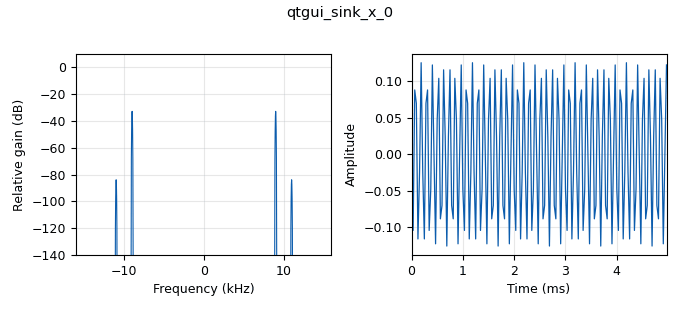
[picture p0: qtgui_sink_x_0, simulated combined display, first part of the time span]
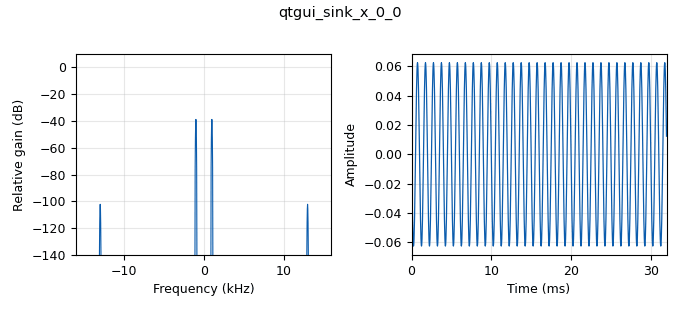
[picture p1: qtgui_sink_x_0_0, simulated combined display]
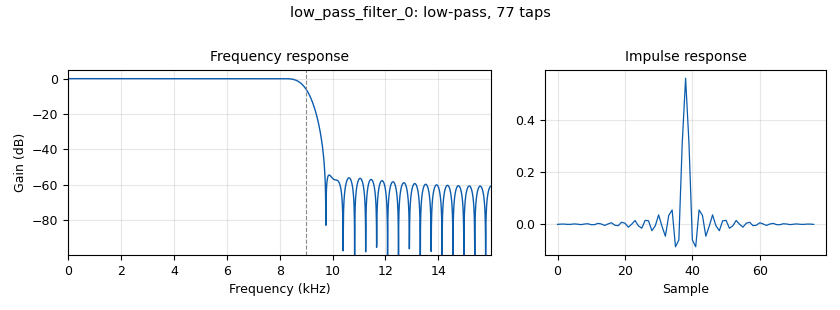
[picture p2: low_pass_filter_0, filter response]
options:
  parameters:
    author: e-life center
    generate_options: qt_gui
    id: project
    output_language: python
    title: Not titled yet
  states: {}

blocks:
- name: samp_rate
  id: variable
  parameters:
    value: '32000'
  states: {}
- name: analog_sig_source_x_0
  id: analog_sig_source_x
  parameters:
    amp: '0.5'
    freq: '1000'
    offset: '0'
    phase: '0'
    samp_rate: samp_rate
    type: float
    waveform: analog.GR_SIN_WAVE
  states: {}
- name: analog_sig_source_x_0_0
  id: analog_sig_source_x
  parameters:
    amp: '1'
    freq: '10000'
    offset: '0'
    phase: '0'
    samp_rate: samp_rate
    type: float
    waveform: analog.GR_SIN_WAVE
  states: {}
- name: analog_sig_source_x_0_0_0
  id: analog_sig_source_x
  parameters:
    amp: '1'
    freq: '10000'
    offset: '0'
    phase: '0'
    samp_rate: samp_rate
    type: float
    waveform: analog.GR_SIN_WAVE
  states: {}
- name: analog_sig_source_x_0_0_0_0
  id: analog_sig_source_x
  parameters:
    amp: '1'
    freq: '10000'
    offset: '0'
    phase: '0'
    samp_rate: samp_rate
    type: float
    waveform: analog.GR_SIN_WAVE
  states: {}
- name: analog_sig_source_x_0_1
  id: analog_sig_source_x
  parameters:
    amp: '0.5'
    freq: '1000'
    offset: '0'
    phase: '0'
    samp_rate: samp_rate
    type: float
    waveform: analog.GR_SIN_WAVE
  states: {}
- name: blocks_multiply_xx_0
  id: blocks_multiply_xx
  parameters:
    type: float
  states: {}
- name: blocks_multiply_xx_0_0
  id: blocks_multiply_xx
  parameters:
    type: float
  states: {}
- name: blocks_multiply_xx_0_0_0
  id: blocks_multiply_xx
  parameters:
    type: float
  states: {}
- name: low_pass_filter_0
  id: low_pass_filter
  parameters:
    cutoff_freq: '9000'
    decim: '1'
    gain: '1'
    samp_rate: samp_rate
    type: fir_filter_fff
    width: '1000'
    win: window.WIN_HAMMING
  states: {}
- name: low_pass_filter_1
  id: low_pass_filter
  parameters:
    cutoff_freq: '9000'
    decim: '1'
    gain: '1'
    samp_rate: samp_rate
    type: fir_filter_fff
    width: '1000'
    win: window.WIN_HAMMING
  states: {}
- name: low_pass_filter_1_0
  id: low_pass_filter
  parameters:
    cutoff_freq: '9000'
    decim: '1'
    gain: '1'
    samp_rate: samp_rate
    type: fir_filter_fff
    width: '1000'
    win: window.WIN_HAMMING
  states: {}
- name: qtgui_sink_x_0
  id: qtgui_sink_x
  parameters:
    bw: samp_rate
    fc: '0'
    fftsize: '1024'
    type: float
  states: {}
- name: qtgui_sink_x_0_0
  id: qtgui_sink_x
  parameters:
    bw: samp_rate
    fc: '0'
    fftsize: '1024'
    type: float
  states: {}

connections:
- [analog_sig_source_x_0, '0', blocks_multiply_xx_0, '0']
- [analog_sig_source_x_0_0, '0', blocks_multiply_xx_0, '1']
- [analog_sig_source_x_0_0_0, '0', blocks_multiply_xx_0_0, '1']
- [analog_sig_source_x_0_0_0_0, '0', blocks_multiply_xx_0_0_0, '1']
- [analog_sig_source_x_0_1, '0', blocks_multiply_xx_0_0, '0']
- [blocks_multiply_xx_0, '0', low_pass_filter_1, '0']
- [blocks_multiply_xx_0_0, '0', low_pass_filter_1_0, '0']
- [blocks_multiply_xx_0_0_0, '0', low_pass_filter_0, '0']
- [low_pass_filter_0, '0', qtgui_sink_x_0_0, '0']
- [low_pass_filter_1, '0', qtgui_sink_x_0, '0']
- [low_pass_filter_1_0, '0', blocks_multiply_xx_0_0_0, '0']

metadata:
  file_format: 1
  grc_version: 3.10.10.0
